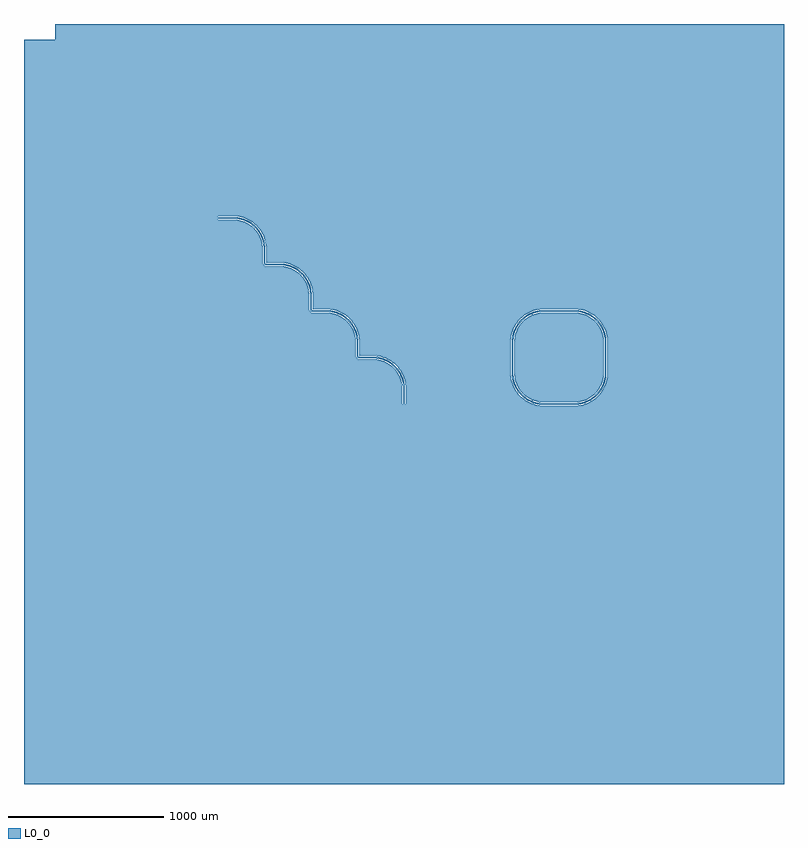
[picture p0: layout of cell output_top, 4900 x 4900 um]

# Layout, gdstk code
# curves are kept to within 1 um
import gdstk
lib = gdstk.Library(unit=1e-6, precision=1e-09)
def R(c, l, rs):  # rectangles x0, y0, x1, y1
    for r in rs: c.add(gdstk.rectangle(r[:2], r[2:], *l))
def P(c, l, *ps):  # polygons
    for p in ps: c.add(gdstk.Polygon(p, *l))
L0_0 = (0, 0)

output_top = lib.new_cell('output_top')
R(output_top, L0_0, [(-1960,-2450,-1470,2450), (1470,-2450,1960,2450), (1960,-2450,2450,2450)])
P(output_top, L0_0, [(-1960,2450),(-2250,2450),(-2250,2350),(-2450,2350),(-2450,-2450),(-1960,-2450)],
  [(-980,1132.727),(-1000.553,1148.833),(-1020.83,1160.54),(-1042.462,1169.5),(-1065.079,1175.561),(-1100,1179),(-1200,1179),(-1200,1221),(-1100,1221),(-1071.154,1219.109),(-1028.962,1209.272),(-1002.254,1198.209),(-980,1185.484),(-980,2450),(-1470,2450),(-1470,-2450),(-980,-2450)],
  [(-490,2450),(-980,2450),(-980,1185.484),(-954.285,1166.157),(-933.843,1145.715),(-908.608,1110.5),(-895.823,1084.573),(-886.53,1057.199),(-880.891,1028.846),(-879,1000),(-879,921),(-785.546,920.527),(-756.885,916.754),(-728.962,909.272),(-689.5,891.392),(-665.464,875.331),(-643.729,856.271),(-616.245,822.781),(-595.823,784.573),(-583.246,743.115),(-579.473,714.454),(-579,621),(-490,620.673)],
  [(-490,578.673),(-600,579),(-600,600),(-621,600),(-621.383,711.707),(-627.099,746.329),(-639.46,779.17),(-651.167,799.447),(-673.428,826.572),(-691.032,842.01),(-720.83,860.54),(-742.462,869.5),(-765.079,875.561),(-800,879),(-900,879),(-900,900),(-921,900),(-921.383,1011.707),(-927.099,1046.329),(-934.626,1068.5),(-944.981,1089.5),(-957.99,1108.968),(-980,1132.727),(-980,-2450),(-490,-2450)],
  [(0,2450),(-490,2450),(-490,620.673),(-471.154,619.109),(-442.801,613.47),(-415.427,604.177),(-389.5,591.392),(-365.464,575.331),(-343.729,556.271),(-316.245,522.781),(-295.823,484.573),(-283.246,443.115),(-279.473,414.454),(-279,321),(-200,321),(-171.154,319.109),(-142.801,313.47),(-102.254,298.209),(-77.219,283.755),(-43.729,256.271),(-16.245,222.781),(0,193.793)],
  [(0,0),(-21,0),(-21,100),(-24.439,134.921),(-30.5,157.538),(-39.46,179.17),(-51.167,199.447),(-65.421,218.023),(-81.977,234.579),(-110.5,255.019),(-131.5,265.374),(-153.671,272.901),(-188.293,278.617),(-300,279),(-300,300),(-321,300),(-321,400),(-322.531,423.364),(-330.5,457.538),(-339.46,479.17),(-351.167,499.447),(-373.428,526.572),(-391.032,542.01),(-410.5,555.019),(-431.5,565.374),(-453.671,572.901),(-490,578.673),(-490,-2450),(0,-2450)],
  [(490,2450),(0,2450),(0,193.793),(9.272,171.038),(16.754,143.115),(21,100),(21,0),(0,0),(0,-2450),(490,-2450)],
  [(980,-21),(885.546,-20.527),(856.885,-16.754),(828.962,-9.272),(802.254,1.791),(765.464,24.669),(733.843,54.285),(716.245,77.219),(701.791,102.254),(690.728,128.962),(683.246,156.885),(679,200),(679,400),(680.891,428.846),(690.728,471.038),(701.791,497.746),(716.245,522.781),(743.729,556.271),(765.464,575.331),(789.5,591.392),(828.962,609.272),(856.885,616.754),(885.546,620.527),(980,621),(980,2450),(490,2450),(490,-2450),(980,-2450)],
  [(980,579),(900,579),(876.636,577.469),(842.462,569.5),(810.5,555.019),(791.032,542.01),(773.428,526.572),(751.167,499.447),(734.626,468.5),(724.439,434.921),(721,400),(721,200),(724.439,165.079),(730.5,142.462),(739.46,120.83),(751.167,100.553),(765.421,81.977),(781.977,65.421),(800.553,51.167),(820.83,39.46),(842.462,30.5),(865.079,24.439),(900,21),(980,21)],
  [(1470,2450),(980,2450),(980,621),(1100,621),(1128.846,619.109),(1171.038,609.272),(1197.746,598.209),(1222.781,583.755),(1256.271,556.271),(1275.331,534.536),(1291.392,510.5),(1304.177,484.573),(1313.47,457.199),(1319.109,428.846),(1321,400),(1321,200),(1319.109,171.154),(1313.47,142.801),(1304.177,115.427),(1291.392,89.5),(1275.331,65.464),(1256.271,43.729),(1222.781,16.245),(1197.746,1.791),(1157.199,-13.47),(1114.454,-20.527),(980,-21),(980,-2450),(1470,-2450)],
  [(1111.707,21.383),(1134.921,24.439),(1157.538,30.5),(1179.17,39.46),(1199.447,51.167),(1218.023,65.421),(1234.579,81.977),(1255.019,110.5),(1265.374,131.5),(1275.561,165.079),(1279,200),(1279,400),(1277.469,423.364),(1272.901,446.329),(1265.374,468.5),(1255.019,489.5),(1234.579,518.023),(1218.023,534.579),(1199.447,548.833),(1168.5,565.374),(1146.329,572.901),(1111.707,578.617),(980,579),(980,21)],
  [(-980,1185.484),(-1002.254,1198.209),(-1028.962,1209.272),(-1071.154,1219.109),(-1100,1221),(-1200,1221),(-1200,1211),(-1100,1211),(-1058.836,1206.946),(-1019.254,1194.939),(-994.5,1182.731),(-980,1173.452)],
  [(-980,1145.886),(-994.997,1157.148),(-1016.407,1169.509),(-1039.248,1178.97),(-1063.128,1185.368),(-1100,1189),(-1200,1189),(-1200,1179),(-1088.293,1178.617),(-1053.671,1172.901),(-1031.5,1165.374),(-1010.5,1155.019),(-991.032,1142.01),(-980,1132.727)],
  [(-490,620.673),(-579,621),(-579.473,714.454),(-583.246,743.115),(-590.728,771.038),(-601.791,797.746),(-616.245,822.781),(-643.729,856.271),(-665.464,875.331),(-702.254,898.209),(-728.962,909.272),(-756.885,916.754),(-785.546,920.527),(-879,921),(-879,1000),(-880.891,1028.846),(-886.53,1057.199),(-895.823,1084.573),(-908.608,1110.5),(-933.843,1145.715),(-954.285,1166.157),(-980,1185.484),(-980,1173.452),(-950.8,1149.2),(-924.56,1117.225),(-910.76,1093.323),(-900.198,1067.824),(-893.054,1041.164),(-889.452,1013.8),(-889,911),(-800,911),(-758.836,906.946),(-719.254,894.939),(-694.5,882.731),(-671.551,867.398),(-650.8,849.2),(-632.602,828.449),(-610.76,793.323),(-600.198,767.824),(-593.054,741.164),(-589.452,713.8),(-589,611),(-490,610.672)],
  [(-911,1000),(-912.617,1024.669),(-917.44,1048.917),(-930.491,1083.593),(-950.056,1115.056),(-966.357,1133.643),(-980,1145.886),(-980,1132.727),(-957.99,1108.968),(-944.981,1089.5),(-934.626,1068.5),(-927.099,1046.329),(-921.383,1011.707),(-921,900),(-911,900)],
  [(-611,700),(-612.617,724.669),(-617.44,748.917),(-630.491,783.593),(-642.852,805.003),(-657.902,824.616),(-675.384,842.098),(-694.997,857.148),(-716.407,869.509),(-739.248,878.97),(-775.331,887.383),(-800,889),(-900,889),(-900,879),(-788.293,878.617),(-753.671,872.901),(-731.5,865.374),(-710.5,855.019),(-691.032,842.01),(-673.428,826.572),(-657.99,808.968),(-644.981,789.5),(-630.5,757.538),(-624.439,734.921),(-621,700),(-621,600),(-611,600)],
  [(-490,588.672),(-500,589),(-600,589),(-600,579),(-500,579),(-490,578.673)],
  [(0,193.793),(-16.245,222.781),(-43.729,256.271),(-77.219,283.755),(-102.254,298.209),(-142.801,313.47),(-171.154,319.109),(-200,321),(-279,321),(-279.473,414.454),(-283.246,443.115),(-295.823,484.573),(-316.245,522.781),(-343.729,556.271),(-365.464,575.331),(-389.5,591.392),(-415.427,604.177),(-442.801,613.47),(-471.154,619.109),(-490,620.673),(-490,610.672),(-458.836,606.946),(-432.176,599.802),(-406.677,589.24),(-382.775,575.44),(-350.8,549.2),(-324.56,517.225),(-305.061,480.746),(-293.054,441.164),(-289,400),(-289,311),(-186.2,310.548),(-158.836,306.946),(-119.254,294.939),(-94.5,282.731),(-71.551,267.398),(-41.362,239.122),(-17.269,205.5),(0,167.171)],
  [(-311,400),(-314.632,436.872),(-325.387,472.327),(-342.852,505.003),(-366.357,533.643),(-394.997,557.148),(-427.673,574.613),(-463.128,585.368),(-490,588.672),(-490,578.673),(-465.079,575.561),(-442.462,569.5),(-420.83,560.54),(-400.553,548.833),(-373.428,526.572),(-357.99,508.968),(-344.981,489.5),(-330.5,457.538),(-322.531,423.364),(-321,400),(-321,300),(-311,300)],
  [(-11,100),(-12.617,124.669),(-17.44,148.917),(-30.491,183.593),(-42.852,205.003),(-57.902,224.616),(-75.384,242.098),(-94.997,257.148),(-116.407,269.509),(-139.248,278.97),(-175.331,287.383),(-200,289),(-300,289),(-300,279),(-188.293,278.617),(-153.671,272.901),(-131.5,265.374),(-110.5,255.019),(-91.032,242.01),(-73.428,226.572),(-57.99,208.968),(-44.981,189.5),(-30.5,157.538),(-24.439,134.921),(-21,100),(-21,0),(-11,0)],
  [(21,100),(20.527,114.454),(16.754,143.115),(9.272,171.038),(0,193.793),(0,167.171),(6.946,141.164),(10.548,113.8),(11,0),(21,0)],
  [(980,-11),(900,-11),(872.459,-9.195),(832.176,0.198),(794.5,17.269),(760.878,41.362),(732.602,71.551),(717.269,94.5),(705.061,119.254),(693.054,158.836),(689,200),(689.452,413.8),(693.054,441.164),(700.198,467.824),(710.76,493.323),(724.56,517.225),(750.8,549.2),(771.551,567.398),(806.677,589.24),(832.176,599.802),(858.836,606.946),(886.2,610.548),(980,611),(980,621),(885.546,620.527),(856.885,616.754),(828.962,609.272),(802.254,598.209),(777.219,583.755),(754.285,566.157),(733.843,545.715),(716.245,522.781),(695.823,484.573),(686.53,457.199),(679.473,414.454),(679,200),(683.246,156.885),(695.823,115.427),(716.245,77.219),(743.729,43.729),(765.464,24.669),(789.5,8.608),(828.962,-9.272),(871.154,-19.109),(900,-21),(980,-21)],
  [(980,21),(900,21),(876.636,22.531),(842.462,30.5),(810.5,44.981),(791.032,57.99),(773.428,73.428),(751.167,100.553),(734.626,131.5),(724.439,165.079),(721,200),(721.383,411.707),(727.099,446.329),(734.626,468.5),(744.981,489.5),(765.421,518.023),(781.977,534.579),(810.5,555.019),(831.5,565.374),(853.671,572.901),(888.293,578.617),(980,579),(980,589),(900,589),(863.128,585.368),(839.248,578.97),(816.407,569.509),(794.997,557.148),(775.384,542.098),(757.902,524.616),(742.852,505.003),(730.491,483.593),(721.03,460.752),(712.617,424.669),(711,400),(711,200),(714.632,163.128),(725.387,127.673),(742.852,94.997),(757.902,75.384),(775.384,57.902),(805.5,36.321),(839.248,21.03),(863.128,14.632),(887.639,11.405),(980,11)],
  [(1114.454,-20.527),(1143.115,-16.754),(1171.038,-9.272),(1197.746,1.791),(1222.781,16.245),(1245.715,33.843),(1266.157,54.285),(1291.392,89.5),(1304.177,115.427),(1313.47,142.801),(1320.527,185.546),(1321,400),(1316.754,443.115),(1309.272,471.038),(1298.209,497.746),(1275.331,534.536),(1245.715,566.157),(1222.781,583.755),(1197.746,598.209),(1157.199,613.47),(1128.846,619.109),(1100,621),(980,621),(980,611),(1100,611),(1141.164,606.946),(1180.746,594.939),(1205.5,582.731),(1239.122,558.638),(1267.398,528.449),(1282.731,505.5),(1294.939,480.746),(1306.946,441.164),(1311,400),(1311,200),(1309.195,172.459),(1303.81,145.389),(1294.939,119.254),(1282.731,94.5),(1267.398,71.551),(1249.2,50.8),(1217.225,24.56),(1180.746,5.061),(1154.611,-3.81),(1113.8,-10.548),(980,-11),(980,-21)],
  [(1112.361,11.405),(1136.872,14.632),(1160.752,21.03),(1183.593,30.491),(1205.003,42.852),(1224.616,57.902),(1249.944,84.944),(1263.679,105.5),(1274.613,127.673),(1282.56,151.083),(1288.595,187.639),(1289,400),(1285.368,436.872),(1278.97,460.752),(1269.509,483.593),(1249.944,515.056),(1233.643,533.643),(1215.056,549.944),(1183.593,569.509),(1148.917,582.56),(1112.361,588.595),(980,589),(980,579),(1111.707,578.617),(1146.329,572.901),(1179.17,560.54),(1199.447,548.833),(1218.023,534.579),(1242.01,508.968),(1260.54,479.17),(1269.5,457.538),(1275.561,434.921),(1279,400),(1278.617,188.293),(1275.561,165.079),(1269.5,142.462),(1260.54,120.83),(1248.833,100.553),(1226.572,73.428),(1199.447,51.167),(1179.17,39.46),(1146.329,27.099),(1111.707,21.383),(980,21),(980,11)],
  [(5,100),(3.246,126.758),(-1.985,153.058),(-16.141,190.669),(-29.549,213.892),(-45.873,235.166),(-64.834,254.127),(-86.108,270.451),(-121.55,289.395),(-160.006,301.061),(-200,305),(-295,305),(-295.439,413.408),(-301.985,453.058),(-316.141,490.669),(-329.549,513.892),(-345.873,535.166),(-364.834,554.127),(-386.108,570.451),(-409.331,583.859),(-434.105,594.121),(-460.006,601.061),(-500,605),(-605,605),(-605,600),(-600,600),(-600,595),(-487.246,594.582),(-449.53,588.356),(-425.377,580.157),(-402.5,568.875),(-371.428,546.609),(-353.391,528.572),(-337.863,508.336),(-319.843,474.623),(-311.644,450.47),(-305.418,412.754),(-305,300),(-300,300),(-300,295),(-187.246,294.582),(-149.53,288.356),(-125.377,280.157),(-102.5,268.875),(-81.292,254.704),(-62.114,237.886),(-45.296,218.708),(-31.125,197.5),(-19.843,174.623),(-11.644,150.47),(-5.418,112.754),(-5,0),(5,0)],
  [(-595,700),(-596.754,726.758),(-601.985,753.058),(-616.141,790.669),(-629.549,813.892),(-645.873,835.166),(-664.834,854.127),(-686.108,870.451),(-721.55,889.395),(-760.006,901.061),(-800,905),(-895,905),(-895.439,1013.408),(-901.985,1053.058),(-916.141,1090.669),(-929.549,1113.892),(-945.873,1135.166),(-964.834,1154.127),(-986.108,1170.451),(-1009.331,1183.859),(-1034.105,1194.121),(-1060.006,1201.061),(-1100,1205),(-1200,1205),(-1200,1195),(-1087.246,1194.582),(-1049.53,1188.356),(-1025.377,1180.157),(-1002.5,1168.875),(-971.428,1146.609),(-953.391,1128.572),(-937.863,1108.336),(-919.843,1074.623),(-911.644,1050.47),(-905.418,1012.754),(-905,900),(-900,900),(-900,895),(-787.246,894.582),(-749.53,888.356),(-725.377,880.157),(-702.5,868.875),(-681.292,854.704),(-662.114,837.886),(-645.296,818.708),(-631.125,797.5),(-619.843,774.623),(-611.644,750.47),(-605.418,712.754),(-605,605),(-595,605)],
  [(1113.408,-4.561),(1153.058,1.985),(1190.669,16.141),(1213.892,29.549),(1244.957,55.043),(1270.451,86.108),(1289.395,121.55),(1301.061,160.006),(1305,200),(1295,200),(1293.332,174.547),(1288.356,149.53),(1274.89,113.754),(1262.137,91.664),(1237.886,62.114),(1208.336,37.863),(1174.623,19.843),(1138.043,8.747),(1100,5),(887.246,5.418),(849.53,11.644),(813.754,25.11),(791.664,37.863),(771.428,53.391),(753.391,71.428),(737.863,91.664),(719.843,125.377),(711.644,149.53),(706.668,174.547),(705,200),(695,200),(698.939,160.006),(705.879,134.105),(716.141,109.331),(729.549,86.108),(745.873,64.834),(764.834,45.873),(786.108,29.549),(809.331,16.141),(846.942,1.985),(886.592,-4.561)],
  [(1305,400),(1301.061,439.994),(1294.121,465.895),(1283.859,490.669),(1270.451,513.892),(1254.127,535.166),(1235.166,554.127),(1202.5,577.535),(1178.45,589.395),(1139.994,601.061),(1100,605),(886.592,604.561),(860.006,601.061),(834.105,594.121),(809.331,583.859),(786.108,570.451),(755.043,544.957),(729.549,513.892),(716.141,490.669),(705.879,465.895),(698.939,439.994),(695.439,413.408),(695,200),(705,200),(705.418,412.754),(708.747,438.043),(715.349,462.681),(725.11,486.246),(737.863,508.336),(762.114,537.886),(791.664,562.137),(813.754,574.89),(837.319,584.651),(861.957,591.253),(887.246,594.582),(1112.754,594.582),(1150.47,588.356),(1174.623,580.157),(1208.336,562.137),(1228.572,546.609),(1246.609,528.572),(1268.875,497.5),(1280.157,474.623),(1291.253,438.043),(1295,400),(1295,200),(1305,200)])

lib.write_gds('output_top.gds')
